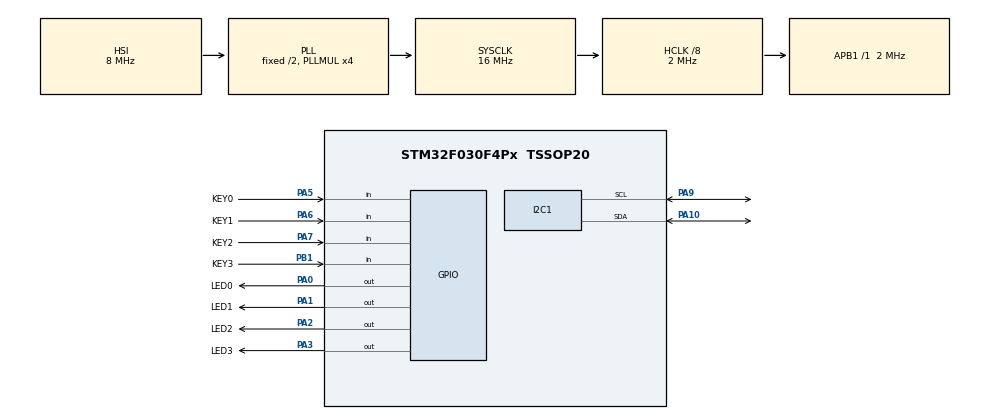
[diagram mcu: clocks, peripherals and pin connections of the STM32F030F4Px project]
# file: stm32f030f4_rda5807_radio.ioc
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Mcu.Family=STM32F0
Mcu.Name=STM32F030F4Px
Mcu.Package=TSSOP20
PA0.GPIO_Label=LED0
PA0.Signal=GPIO_Output
PA1.GPIO_Label=LED1
PA1.Signal=GPIO_Output
PA10.GPIO_Pu=GPIO_PULLUP
PA10.Mode=I2C
PA10.Signal=I2C1_SDA
PA13.Mode=Serial_Wire
PA13.Signal=SYS_SWDIO
PA14.Mode=Serial_Wire
PA14.Signal=SYS_SWCLK
PA2.GPIO_Label=LED2
PA2.Signal=GPIO_Output
PA3.GPIO_Label=LED3
PA3.Signal=GPIO_Output
PA5.GPIO_Label=KEY0
PA5.GPIO_PuPd=GPIO_PULLUP
PA5.Signal=GPIO_Input
PA6.GPIO_Label=KEY1
PA6.GPIO_PuPd=GPIO_PULLUP
PA6.Signal=GPIO_Input
PA7.GPIO_Label=KEY2
PA7.GPIO_PuPd=GPIO_PULLUP
PA7.Signal=GPIO_Input
PA9.GPIO_Pu=GPIO_PULLUP
PA9.Mode=I2C
PA9.Signal=I2C1_SCL
PB1.GPIO_Label=KEY3
PB1.GPIO_PuPd=GPIO_PULLUP
PB1.Signal=GPIO_Input
ProjectManager.HeapSize=0x200
ProjectManager.StackSize=0x400
ProjectManager.TargetToolchain=STM32CubeIDE
RCC.AHBCLKDivider=RCC_SYSCLK_DIV8
RCC.AHBFreq_Value=2000000
RCC.APB1Freq_Value=2000000
RCC.APB1TimFreq_Value=2000000
RCC.HCLKFreq_Value=2000000
RCC.PLLMUL=RCC_PLL_MUL4
RCC.SYSCLKFreq_VALUE=16000000
RCC.SYSCLKSource=RCC_SYSCLKSOURCE_PLLCLK
board=custom

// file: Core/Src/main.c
/* USER CODE BEGIN Header */
/**
  ******************************************************************************
  * @file           : main.c
  * @brief          : Main program body
  ******************************************************************************
  * @attention
  *
  * <h2><center>&copy; Copyright (c) 2022 STMicroelectronics.
  * All rights reserved.</center></h2>
  *
  * This software component is licensed by ST under BSD 3-Clause license,
  * the "License"; You may not use this file except in compliance with the
  * License. You may obtain a copy of the License at:
  *                        opensource.org/licenses/BSD-3-Clause
  *
  ******************************************************************************
  */
/* USER CODE END Header */
#include "main.h"
#include "i2c.h"
#include "gpio.h"

/* USER CODE BEGIN Includes */
#include "rda5807.h"
/* USER CODE END Includes */

void SystemClock_Config(void);

/* USER CODE BEGIN 0 */

const uint16_t stations[] = {
		876,
		887,
		900,
		905,
		915,
		945,
		974,
		1018,
		1025,
		1039,
		1061,
		1066
};

bool button_channel_up_pressed() {
	if(HAL_GPIO_ReadPin(KEY0_GPIO_Port, KEY0_Pin) == GPIO_PIN_RESET) {
		return true;
	} else {
		return false;
	}
}

bool button_channel_down_pressed() {
	if(HAL_GPIO_ReadPin(KEY1_GPIO_Port, KEY1_Pin) == GPIO_PIN_RESET) {
		return true;
	} else {
		return false;
	}
}

void update_station_led(int station) {
	if(station & 0b0001) {
		HAL_GPIO_WritePin(LED0_GPIO_Port, LED0_Pin, GPIO_PIN_SET);
	} else {
		HAL_GPIO_WritePin(LED0_GPIO_Port, LED0_Pin, GPIO_PIN_RESET);
	}
	if(station & 0b0010) {
		HAL_GPIO_WritePin(LED1_GPIO_Port, LED1_Pin, GPIO_PIN_SET);
	} else {
		HAL_GPIO_WritePin(LED1_GPIO_Port, LED1_Pin, GPIO_PIN_RESET);
	}
	if(station & 0b0100) {
		HAL_GPIO_WritePin(LED2_GPIO_Port, LED2_Pin, GPIO_PIN_SET);
	} else {
		HAL_GPIO_WritePin(LED2_GPIO_Port, LED2_Pin, GPIO_PIN_RESET);
	}
	if(station & 0b1000) {
		HAL_GPIO_WritePin(LED3_GPIO_Port, LED3_Pin, GPIO_PIN_SET);
	} else {
		HAL_GPIO_WritePin(LED3_GPIO_Port, LED3_Pin, GPIO_PIN_RESET);
	}
}

/* USER CODE END 0 */

int main(void)
{

  /* MCU Configuration--------------------------------------------------------*/

  /* Reset of all peripherals, Initializes the Flash interface and the Systick. */
  HAL_Init();

  /* Configure the system clock */
  SystemClock_Config();

  /* Initialize all configured peripherals */
  MX_GPIO_Init();
  MX_I2C1_Init();
  /* USER CODE BEGIN 2 */
  rda5807_init();
  rda5807_set_mute(false);
  rda5807_set_bass_boost(false);
  rda5807_set_volume(0x0F);

  int current_station = 0;
  rda5807_set_frequency(stations[current_station]);
  /* USER CODE END 2 */

  /* Infinite loop */
  while (1)
  {

    /* USER CODE BEGIN 3 */
	  //HAL_GPIO_TogglePin(LED0_GPIO_Port, LED0_Pin);
	  HAL_Delay(50);
	  if(button_channel_up_pressed()) {
		  current_station += 1;
		  if(current_station >= (sizeof(stations)/ sizeof(stations[0]))) {
			  current_station = 0;
		  }
		  rda5807_set_frequency(stations[current_station]);
		  update_station_led(current_station);
		  delay(500);
	  }
	  if(button_channel_down_pressed()) {
		  current_station -= 1;
		  if(current_station < 0) {
			  current_station = sizeof(stations)/ sizeof(stations[0]) - 1;
		  }
		  rda5807_set_frequency(stations[current_station]);
		  update_station_led(current_station);
		  delay(500);
	  }

  }
  /* USER CODE END 3 */
}

void SystemClock_Config(void)
{
  RCC_OscInitTypeDef RCC_OscInitStruct = {0};
  RCC_ClkInitTypeDef RCC_ClkInitStruct = {0};
  RCC_PeriphCLKInitTypeDef PeriphClkInit = {0};

  /** Initializes the RCC Oscillators according to the specified parameters
  * in the RCC_OscInitTypeDef structure.
  */
  RCC_OscInitStruct.OscillatorType = RCC_OSCILLATORTYPE_HSI;
  RCC_OscInitStruct.HSIState = RCC_HSI_ON;
  RCC_OscInitStruct.HSICalibrationValue = RCC_HSICALIBRATION_DEFAULT;
  RCC_OscInitStruct.PLL.PLLState = RCC_PLL_ON;
  RCC_OscInitStruct.PLL.PLLSource = RCC_PLLSOURCE_HSI;
  RCC_OscInitStruct.PLL.PLLMUL = RCC_PLL_MUL4;
  RCC_OscInitStruct.PLL.PREDIV = RCC_PREDIV_DIV1;
  if (HAL_RCC_OscConfig(&RCC_OscInitStruct) != HAL_OK)
  {
    Error_Handler();
  }
  /** Initializes the CPU, AHB and APB buses clocks
  */
  RCC_ClkInitStruct.ClockType = RCC_CLOCKTYPE_HCLK|RCC_CLOCKTYPE_SYSCLK
                              |RCC_CLOCKTYPE_PCLK1;
  RCC_ClkInitStruct.SYSCLKSource = RCC_SYSCLKSOURCE_PLLCLK;
  RCC_ClkInitStruct.AHBCLKDivider = RCC_SYSCLK_DIV8;
  RCC_ClkInitStruct.APB1CLKDivider = RCC_HCLK_DIV1;

  if (HAL_RCC_ClockConfig(&RCC_ClkInitStruct, FLASH_LATENCY_0) != HAL_OK)
  {
    Error_Handler();
  }
  PeriphClkInit.PeriphClockSelection = RCC_PERIPHCLK_I2C1;
  PeriphClkInit.I2c1ClockSelection = RCC_I2C1CLKSOURCE_HSI;
  if (HAL_RCCEx_PeriphCLKConfig(&PeriphClkInit) != HAL_OK)
  {
    Error_Handler();
  }
}

void Error_Handler(void)
{
  __disable_irq();
  while (1)
  {
  }
}

/************************ (C) COPYRIGHT STMicroelectronics *****END OF FILE****/
